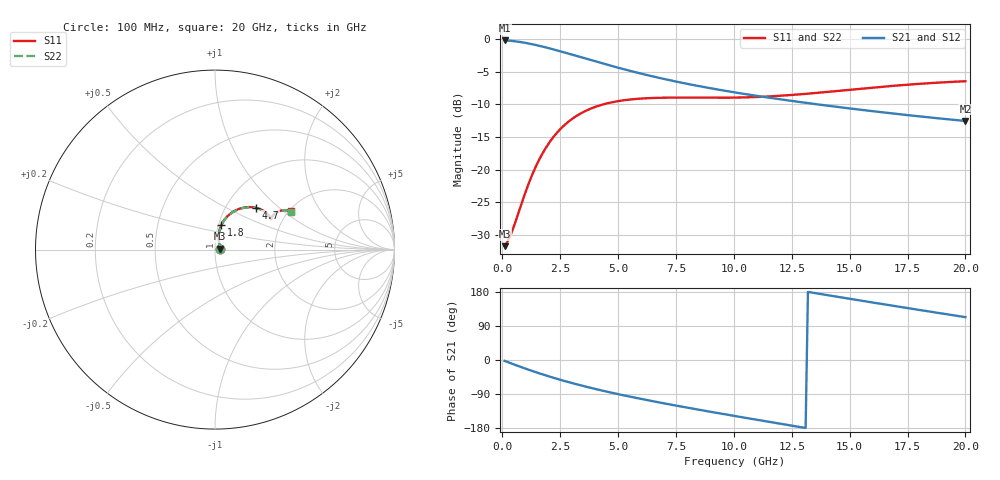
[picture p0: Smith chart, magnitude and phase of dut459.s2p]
! Touchstone file exported from HFSS 2024.1.0
!  File:  C:/UserFiles/LocalFiles/RDL_TSV_Batchsim/temp_RDL_TSV_459_1779727268.aedt
!  Generated:  12:54:34 AM May 26, 2026
!  Design:  RDL_TSV
!  Project:  temp_RDL_TSV_459_1779727268
!  Setup:  Setup1
!  Solution:  Sweep
! Variables:
!  dtsv = 12.95um
!  hbump = 3um
!  htsv = 84.58um
!  ldown = 385.59um
!  lrdl = 543.16um
!  p = 40
!  p1 = 59.35um
!  rhole = 10um
!  subl = 3329.41um
!  t = 450um
!  tdown = 3.69um
!  trdl = 4.08um
!  viad = 10um
!  wdown = 13.61um
!  wrdl = 10.59um
!  xbump = 18um
# GHz S MA R 50.000000
! Terminal data exported
! Port[1] = TM1_1_T1
! Port[2] = TM1_4_T1
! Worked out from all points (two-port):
!   200 points, 100 MHz to 20 GHz, reference 50 ohm
!   highest |S21| = -0.23 dB at 100 MHz (marker M1); lowest = -12.5 dB at 20 GHz (marker M2)
!   |S21| within 3 dB of the highest: start of sweep to 3.824 GHz
!   lowest |S11| = -31.7 dB at 100 MHz (marker M3), VSWR 1.05, Z = 52.6 + j0.603 ohm
!   |S11| at or under -10 dB: start of sweep to 4.362 GHz
!   |S22| runs from -31.7 to -6.5 dB; largest |S21 - S12| = 4.5e-14
!   S11 on the Smith chart (normalised r, x): 100 MHz: 1.05, +0.01; 1.8 GHz: 1.03, +0.28; 4.7 GHz: 1.38, +0.72; 20 GHz: 2.06, +1.13
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0.1  0.02606 12.7  0.974 -2.4  0.974 -2.4  0.02607 12.7
! Gamma 0 0 0 0
! Port Impedance 50 0 50 0
0.2  0.02775 23.8  0.9724 -4.7  0.9724 -4.7  0.02775 23.8
0.4  0.03311 42.6  0.9665 -9.4  0.9665 -9.4  0.03312 42.6
1  0.06724 72.5  0.9332 -22.8  0.9332 -22.8  0.06721 72.4
1.4  0.1014 76.8  0.9031 -31.2  0.9031 -31.2  0.1012 76.7
1.8  0.1393 75.7  0.8691 -39.1  0.8691 -39.1  0.1391 75.6
2.2  0.1773 72.1  0.8329 -46.7  0.8329 -46.7  0.1769 72.0
2.6  0.2126 67.6  0.7961 -53.9  0.7961 -53.9  0.2121 67.4
3  0.2439 62.8  0.7598 -60.7  0.7598 -60.7  0.2432 62.6
3.5  0.2764 57.0  0.7163 -68.7  0.7163 -68.7  0.2756 56.8
4.1  0.3061 50.7  0.6676 -77.7  0.6676 -77.7  0.3051 50.6
4.7  0.327 45.3  0.6234 -86.1  0.6234 -86.1  0.3258 45.2
5.7  0.347 38.2  0.5598 -99.1  0.5598 -99.1  0.3455 38.1
6.8  0.3551 33.0  0.5029 -112.3  0.5029 -112.3  0.3534 32.9
8.4  0.3557 29.2  0.4393 -130.2  0.4393 -130.2  0.3538 29.1
10.1  0.3563 28.6  0.3888 -148.4  0.3888 -148.4  0.3543 28.6
11.7  0.3651 29.6  0.3518 -165.0  0.3518 -165.0  0.3632 29.7
13.4  0.3845 30.8  0.3197 177.6  0.3197 177.6  0.3827 30.8
15.1  0.4104 31.0  0.2929 160.6  0.2929 160.6  0.4087 31.0
16.7  0.4356 30.2  0.2714 144.8  0.2714 144.8  0.434 30.2
18.3  0.4576 28.6  0.2529 129.3  0.2529 129.3  0.456 28.6
20  0.4751 26.6  0.2362 113.1  0.2362 113.1  0.4735 26.6
